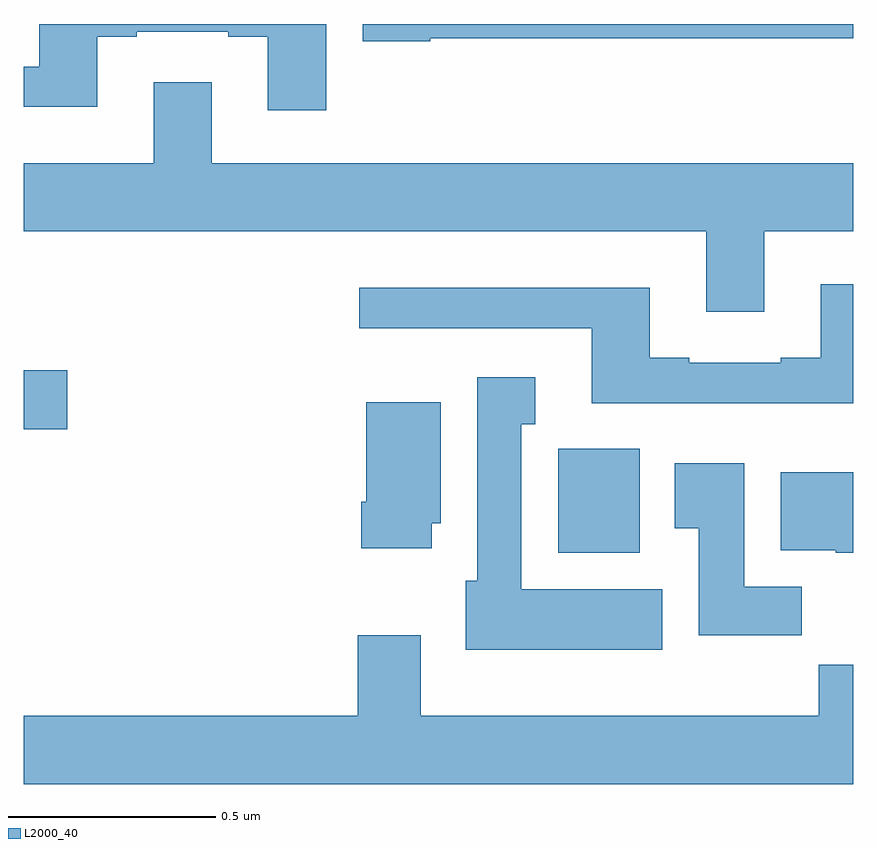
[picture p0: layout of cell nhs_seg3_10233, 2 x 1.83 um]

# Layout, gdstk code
import gdstk
lib = gdstk.Library(unit=1e-6, precision=1e-09)
def R(c, l, rs):  # rectangles x0, y0, x1, y1
    for r in rs: c.add(gdstk.rectangle(r[:2], r[2:], *l))
def P(c, l, *ps):  # polygons
    for p in ps: c.add(gdstk.Polygon(p, *l))
L2000_40 = (2000, 40)

nhs_seg3_10233 = lib.new_cell('nhs_seg3_10233')
R(nhs_seg3_10233, L2000_40, [(239.289,716.126,239.485,716.376), (238,716.423,238.105,716.565)])
P(nhs_seg3_10233, L2000_40, [(238.98,717.366),(240,717.366),(240,717.4),(238.818,717.4),(238.818,717.358),(238.98,717.358)],
  [(238.729,717.4),(238.037,717.4),(238.037,717.297),(238,717.297),(238,717.2),(238.177,717.2),(238.177,717.369),(238.273,717.369),(238.273,717.381),(238.493,717.381),(238.493,717.369),(238.589,717.369),(238.589,717.192),(238.729,717.192)],
  [(239.785,716.9),(240,716.9),(240,717.064),(238.453,717.064),(238.453,717.259),(238.313,717.259),(238.313,717.064),(238,717.064),(238,716.9),(239.645,716.9),(239.645,716.706),(239.785,716.706)],
  [(240,716.773),(239.921,716.773),(239.921,716.596),(239.825,716.596),(239.825,716.583),(239.605,716.583),(239.605,716.596),(239.509,716.596),(239.509,716.764),(238.809,716.764),(238.809,716.667),(239.369,716.667),(239.369,716.486),(240,716.486)],
  [(239.539,716.038),(239.2,716.038),(239.2,716.435),(239.233,716.435),(239.233,716.548),(239.093,716.548),(239.093,716.058),(239.066,716.058),(239.066,715.892),(239.539,715.892)],
  [(238.984,716.196),(239.005,716.196),(239.005,716.488),(238.826,716.488),(238.826,716.248),(238.814,716.248),(238.814,716.136),(238.984,716.136)],
  [(239.876,716.044),(239.737,716.044),(239.737,716.341),(239.57,716.341),(239.57,716.185),(239.627,716.185),(239.627,715.926),(239.876,715.926)],
  [(240,716.32),(239.825,716.32),(239.825,716.132),(239.958,716.132),(239.958,716.126),(240,716.126)],
  [(240,715.856),(239.917,715.856),(239.917,715.732),(238.957,715.732),(238.957,715.927),(238.805,715.927),(238.805,715.732),(238,715.732),(238,715.568),(240,715.568)])

lib.write_gds('nhs_seg3_10233.gds')
